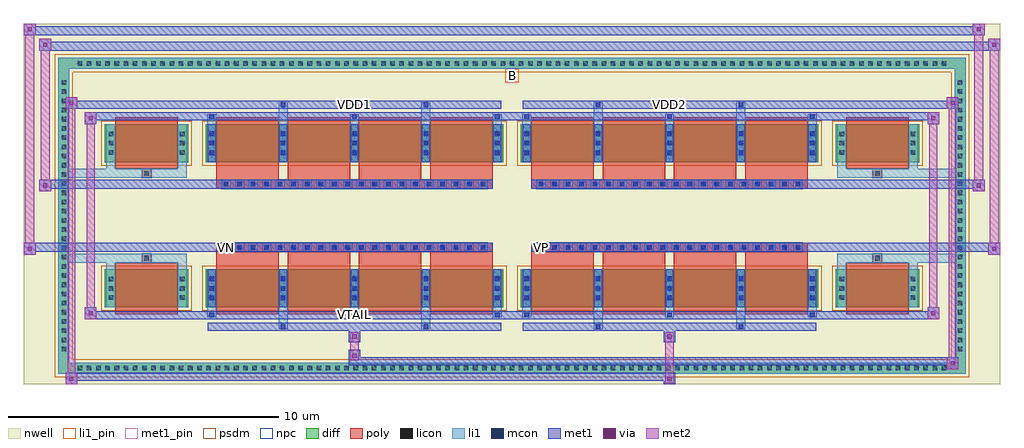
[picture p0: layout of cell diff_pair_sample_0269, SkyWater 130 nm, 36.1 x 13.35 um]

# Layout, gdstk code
import gdstk
lib = gdstk.Library(unit=1e-6, precision=5e-09)
def R(c, l, rs):  # rectangles x0, y0, x1, y1
    for r in rs: c.add(gdstk.rectangle(r[:2], r[2:], *l))
def A(c, l, x, y, w, h, nx, ny, dx, dy):  # array of equal rectangles
    R(c, l, [(x+i*dx, y+j*dy, x+i*dx+w, y+j*dy+h) for i in range(nx) for j in range(ny)])
def P(c, l, *ps):  # polygons
    for p in ps: c.add(gdstk.Polygon(p, *l))
nwell = (64, 20)
diff = (65, 20)
poly = (66, 20)
licon = (66, 44)
li1_pin = (67, 16)
li1 = (67, 20)
mcon = (67, 44)
met1_pin = (68, 16)
met1 = (68, 20)
via = (68, 44)
met2 = (69, 20)
psdm = (94, 20)
npc = (95, 20)

diff_pair_sample_0269 = lib.new_cell('diff_pair_sample_0269')
R(diff_pair_sample_0269, nwell, [(-18.05,-6.24,18.05,7.11), (-15.37,-4.43,-0.01,-0.805), (0.01,-4.43,15.37,-0.805), (-15.37,0.805,-0.01,4.43), (0.01,0.805,15.37,4.43)])
A(diff_pair_sample_0269, diff, -16.185, -5.84, 0.41, 0.41, 95, 2, 0.34, 11.27)
A(diff_pair_sample_0269, diff, -16.78, -5.135, 0.41, 0.41, 1, 30, 0, 0.34)
A(diff_pair_sample_0269, diff, 16.37, -5.135, 0.41, 0.41, 1, 30, 0, 0.34)
R(diff_pair_sample_0269, diff, [(-16.185,-5.84,16.185,-5.43), (-16.78,-5.135,-16.37,5.135), (16.37,-5.135,16.78,5.135), (-15.06,-3.385,-11.97,-1.985), (-11.33,-3.385,-0.32,-1.985), (0.32,-3.385,11.33,-1.985), (11.97,-3.385,15.06,-1.985), (-15.06,1.985,-11.97,3.385), (-11.33,1.985,-0.32,3.385), (0.32,1.985,11.33,3.385), (11.97,1.985,15.06,3.385), (-16.185,5.43,16.185,5.84)])
P(diff_pair_sample_0269, diff, [(16.78,5.84),(-16.78,5.84),(-16.78,-5.43),(-16.37,-5.43),(-16.37,5.43),(16.37,5.43),(16.37,-5.43),(-16.37,-5.43),(-16.78,-5.43),(-16.78,-5.84),(16.78,-5.84)])
A(diff_pair_sample_0269, poly, -10.94, -3.635, 2.31, 1.9, 4, 2, 2.64, 5.37)
A(diff_pair_sample_0269, poly, 0.71, -3.635, 2.31, 1.9, 4, 2, 2.64, 5.37)
A(diff_pair_sample_0269, poly, -10.94, -1.735, 2.31, 0.4, 4, 2, 2.64, 3.07)
A(diff_pair_sample_0269, poly, 0.71, -1.735, 2.31, 0.4, 4, 2, 2.64, 3.07)
A(diff_pair_sample_0269, poly, -10.74, -1.335, 0.33, 0.33, 20, 2, 0.5, 2.34)
A(diff_pair_sample_0269, poly, 0.91, -1.335, 0.33, 0.33, 20, 2, 0.5, 2.34)
R(diff_pair_sample_0269, poly, [(-14.67,-3.635,-12.36,-1.735), (12.36,-3.635,14.67,-1.735), (-13.68,-1.735,-13.35,-1.405), (-13.68,-1.735,-13.35,-1.405), (13.35,-1.735,13.68,-1.405), (13.35,-1.735,13.68,-1.405), (-10.94,-1.335,-0.71,-1.005), (0.71,-1.335,10.94,-1.005), (-10.94,1.005,-0.71,1.335), (0.71,1.005,10.94,1.335), (-13.68,1.405,-13.35,1.735), (-13.68,1.405,-13.35,1.735), (13.35,1.405,13.68,1.735), (13.35,1.405,13.68,1.735), (-14.67,1.735,-12.36,3.635), (12.36,1.735,14.67,3.635)])
A(diff_pair_sample_0269, licon, -16.065, -5.72, 0.17, 0.17, 95, 2, 0.34, 11.27)
A(diff_pair_sample_0269, licon, -16.66, -5.015, 0.17, 0.17, 1, 30, 0, 0.34)
A(diff_pair_sample_0269, licon, 16.49, -5.015, 0.17, 0.17, 1, 30, 0, 0.34)
A(diff_pair_sample_0269, licon, -14.92, -3.11, 0.17, 0.17, 1, 3, 0, 0.34)
A(diff_pair_sample_0269, licon, -12.28, -3.11, 0.17, 0.17, 1, 3, 0, 0.34)
A(diff_pair_sample_0269, licon, -11.19, -3.11, 0.17, 0.17, 5, 3, 2.64, 0.34)
A(diff_pair_sample_0269, licon, 0.46, -3.11, 0.17, 0.17, 5, 3, 2.64, 0.34)
A(diff_pair_sample_0269, licon, 12.11, -3.11, 0.17, 0.17, 1, 3, 0, 0.34)
A(diff_pair_sample_0269, licon, 14.75, -3.11, 0.17, 0.17, 1, 3, 0, 0.34)
A(diff_pair_sample_0269, licon, -10.66, -1.255, 0.17, 0.17, 20, 2, 0.5, 2.34)
A(diff_pair_sample_0269, licon, 0.99, -1.255, 0.17, 0.17, 20, 2, 0.5, 2.34)
A(diff_pair_sample_0269, licon, -14.92, 2.26, 0.17, 0.17, 1, 3, 0, 0.34)
A(diff_pair_sample_0269, licon, -12.28, 2.26, 0.17, 0.17, 1, 3, 0, 0.34)
A(diff_pair_sample_0269, licon, -11.19, 2.26, 0.17, 0.17, 5, 3, 2.64, 0.34)
A(diff_pair_sample_0269, licon, 0.46, 2.26, 0.17, 0.17, 5, 3, 2.64, 0.34)
A(diff_pair_sample_0269, licon, 12.11, 2.26, 0.17, 0.17, 1, 3, 0, 0.34)
A(diff_pair_sample_0269, licon, 14.75, 2.26, 0.17, 0.17, 1, 3, 0, 0.34)
R(diff_pair_sample_0269, licon, [(-13.6,-1.655,-13.43,-1.485), (13.43,-1.655,13.6,-1.485), (-13.6,1.485,-13.43,1.655), (13.43,1.485,13.6,1.655)])
R(diff_pair_sample_0269, li1_pin, [(-0.25,4.93,0.25,5.43)])
A(diff_pair_sample_0269, li1, -16.145, -5.8, 0.33, 0.33, 95, 2, 0.34, 11.27)
A(diff_pair_sample_0269, li1, -16.74, -5.095, 0.33, 0.33, 1, 30, 0, 0.34)
A(diff_pair_sample_0269, li1, 16.41, -5.095, 0.33, 0.33, 1, 30, 0, 0.34)
A(diff_pair_sample_0269, li1, -11.27, -3.76, 0.33, 0.375, 3, 2, 5.28, 7.145)
A(diff_pair_sample_0269, li1, -11.19, -3.76, 0.17, 0.17, 3, 2, 5.28, 7.35)
A(diff_pair_sample_0269, li1, 0.38, -3.76, 0.33, 0.375, 3, 2, 5.28, 7.145)
A(diff_pair_sample_0269, li1, 0.46, -3.76, 0.17, 0.17, 3, 2, 5.28, 7.35)
A(diff_pair_sample_0269, li1, -11.27, -3.385, 0.33, 1.4, 5, 2, 2.64, 5.37)
A(diff_pair_sample_0269, li1, 0.38, -3.385, 0.33, 1.4, 5, 2, 2.64, 5.37)
A(diff_pair_sample_0269, li1, -15, -3.19, 0.33, 0.33, 1, 3, 0, 0.34)
A(diff_pair_sample_0269, li1, -12.36, -3.19, 0.33, 0.33, 1, 3, 0, 0.34)
A(diff_pair_sample_0269, li1, -11.27, -3.19, 0.33, 0.33, 5, 3, 2.64, 0.34)
A(diff_pair_sample_0269, li1, 0.38, -3.19, 0.33, 0.33, 5, 3, 2.64, 0.34)
A(diff_pair_sample_0269, li1, 12.03, -3.19, 0.33, 0.33, 1, 3, 0, 0.34)
A(diff_pair_sample_0269, li1, 14.67, -3.19, 0.33, 0.33, 1, 3, 0, 0.34)
A(diff_pair_sample_0269, li1, -11.19, -3.13, 0.17, 0.17, 5, 3, 2.64, 0.36)
A(diff_pair_sample_0269, li1, -11.19, -3.13, 0.17, 0.89, 5, 2, 2.64, 5.37)
A(diff_pair_sample_0269, li1, 0.46, -3.13, 0.17, 0.17, 5, 3, 2.64, 0.36)
A(diff_pair_sample_0269, li1, 0.46, -3.13, 0.17, 0.89, 5, 2, 2.64, 5.37)
A(diff_pair_sample_0269, li1, -10.74, -1.335, 0.33, 0.33, 20, 2, 0.5, 2.34)
A(diff_pair_sample_0269, li1, 0.91, -1.335, 0.33, 0.33, 20, 2, 0.5, 2.34)
A(diff_pair_sample_0269, li1, -15, 2.18, 0.33, 0.33, 1, 3, 0, 0.34)
A(diff_pair_sample_0269, li1, -12.36, 2.18, 0.33, 0.33, 1, 3, 0, 0.34)
A(diff_pair_sample_0269, li1, -11.27, 2.18, 0.33, 0.33, 5, 3, 2.64, 0.34)
A(diff_pair_sample_0269, li1, 0.38, 2.18, 0.33, 0.33, 5, 3, 2.64, 0.34)
A(diff_pair_sample_0269, li1, 12.03, 2.18, 0.33, 0.33, 1, 3, 0, 0.34)
A(diff_pair_sample_0269, li1, 14.67, 2.18, 0.33, 0.33, 1, 3, 0, 0.34)
A(diff_pair_sample_0269, li1, -11.19, 2.24, 0.17, 0.17, 5, 3, 2.64, 0.36)
A(diff_pair_sample_0269, li1, 0.46, 2.24, 0.17, 0.17, 5, 3, 2.64, 0.36)
R(diff_pair_sample_0269, li1, [(-16.78,-5.84,-16.37,-5.43), (-16.78,-5.84,-16.37,-5.43), (-16.37,-5.84,16.37,-5.43), (16.37,-5.84,16.78,-5.43), (16.37,-5.84,16.78,-5.43), (-16.78,-5.43,-16.37,5.43), (16.37,-5.43,16.78,5.43), (-8.63,-4.19,-8.3,-3.385), (-8.55,-4.19,-8.38,-4.02), (-3.35,-4.19,-3.02,-3.385), (-3.27,-4.19,-3.1,-4.02), (3.02,-4.19,3.35,-3.385), (3.1,-4.19,3.27,-4.02), (8.3,-4.19,8.63,-3.385), (8.38,-4.19,8.55,-4.02), (-15,-3.385,-14.67,-1.985), (-12.36,-3.385,-12.03,-1.985), (12.03,-3.385,12.36,-1.985), (14.67,-3.385,15,-1.985), (-15,-1.985,-14.67,-1.405), (-12.36,-1.985,-12.03,-1.405), (12.03,-1.985,12.36,-1.405), (14.67,-1.985,15,-1.405), (-16.78,-1.735,-13.68,-1.405), (-15,-1.735,-13.68,-1.405), (-13.68,-1.735,-13.35,-1.405), (-13.35,-1.735,-12.03,-1.405), (12.03,-1.735,13.35,-1.405), (13.35,-1.735,13.68,-1.405), (13.35,-1.735,16.78,-1.405), (13.68,-1.735,15,-1.405), (-16.78,1.405,-13.68,1.735), (-15,1.405,-13.68,1.735), (-15,1.405,-14.67,1.985), (-13.68,1.405,-13.35,1.735), (-13.35,1.405,-12.03,1.735), (-12.36,1.405,-12.03,1.985), (12.03,1.405,13.35,1.735), (12.03,1.405,12.36,1.985), (13.35,1.405,13.68,1.735), (13.35,1.405,16.78,1.735), (13.68,1.405,15,1.735), (14.67,1.405,15,1.985), (-15,1.985,-14.67,3.385), (-12.36,1.985,-12.03,3.385), (12.03,1.985,12.36,3.385), (14.67,1.985,15,3.385), (-8.63,3.385,-8.3,4.19), (-3.35,3.385,-3.02,4.19), (3.02,3.385,3.35,4.19), (8.3,3.385,8.63,4.19), (-8.55,4.02,-8.38,4.19), (-3.27,4.02,-3.1,4.19), (3.1,4.02,3.27,4.19), (8.38,4.02,8.55,4.19), (-16.78,5.43,-16.37,5.84), (-16.78,5.43,-16.37,5.84), (-16.37,5.43,16.37,5.84), (16.37,5.43,16.78,5.84), (16.37,5.43,16.78,5.84)])
A(diff_pair_sample_0269, mcon, -11.19, -3.76, 0.17, 0.17, 3, 2, 5.28, 7.35)
A(diff_pair_sample_0269, mcon, 0.46, -3.76, 0.17, 0.17, 3, 2, 5.28, 7.35)
A(diff_pair_sample_0269, mcon, -11.19, -3.13, 0.17, 0.17, 5, 3, 2.64, 0.36)
A(diff_pair_sample_0269, mcon, 0.46, -3.13, 0.17, 0.17, 5, 3, 2.64, 0.36)
A(diff_pair_sample_0269, mcon, -10.66, -1.255, 0.17, 0.17, 20, 2, 0.5, 2.34)
A(diff_pair_sample_0269, mcon, 0.99, -1.255, 0.17, 0.17, 20, 2, 0.5, 2.34)
A(diff_pair_sample_0269, mcon, -11.19, 2.24, 0.17, 0.17, 5, 3, 2.64, 0.36)
A(diff_pair_sample_0269, mcon, 0.46, 2.24, 0.17, 0.17, 5, 3, 2.64, 0.36)
R(diff_pair_sample_0269, mcon, [(-8.55,-4.19,-8.38,-4.02), (-3.27,-4.19,-3.1,-4.02), (3.1,-4.19,3.27,-4.02), (8.38,-4.19,8.55,-4.02), (-8.55,4.02,-8.38,4.19), (-3.27,4.02,-3.1,4.19), (3.1,4.02,3.27,4.19), (8.38,4.02,8.55,4.19)])
R(diff_pair_sample_0269, met1_pin, [(-5.96,-3.8,-5.69,-3.53), (-10.71,-1.295,-10.44,-1.025), (0.94,-1.295,1.21,-1.025), (-5.96,3.98,-5.69,4.25), (5.69,3.98,5.96,4.25)])
A(diff_pair_sample_0269, met1, -11.25, -3.82, 0.29, 0.29, 3, 2, 5.28, 7.35)
A(diff_pair_sample_0269, met1, 0.4, -3.82, 0.29, 0.29, 3, 2, 5.28, 7.35)
A(diff_pair_sample_0269, met1, -11.25, -3.385, 0.29, 1.4, 5, 2, 2.64, 5.37)
A(diff_pair_sample_0269, met1, 0.4, -3.385, 0.29, 1.4, 5, 2, 2.64, 5.37)
A(diff_pair_sample_0269, met1, -11.25, -3.19, 0.29, 0.29, 5, 3, 2.64, 0.36)
A(diff_pair_sample_0269, met1, 0.4, -3.19, 0.29, 0.29, 5, 3, 2.64, 0.36)
A(diff_pair_sample_0269, met1, -10.72, -1.315, 0.29, 0.29, 20, 2, 0.5, 2.34)
A(diff_pair_sample_0269, met1, 0.93, -1.315, 0.29, 0.29, 20, 2, 0.5, 2.34)
A(diff_pair_sample_0269, met1, -11.25, 2.18, 0.29, 0.29, 5, 3, 2.64, 0.36)
A(diff_pair_sample_0269, met1, 0.4, 2.18, 0.29, 0.29, 5, 3, 2.64, 0.36)
R(diff_pair_sample_0269, met1, [(-16.51,-6.24,-16.08,-5.81), (5.61,-6.24,6.04,-5.81), (-16.51,-6.1,6.04,-5.81), (16.08,-5.67,16.51,-5.24), (-6.04,-5.53,16.51,-5.24), (-6.04,-5.39,-5.61,-4.96), (-6.04,-4.68,-5.61,-4.25), (5.61,-4.68,6.04,-4.25), (-11.25,-4.25,-0.4,-3.96), (-8.61,-4.25,-8.32,-3.96), (-3.33,-4.25,-3.04,-3.96), (0.4,-4.25,11.25,-3.96), (3.04,-4.25,3.33,-3.96), (8.32,-4.25,8.61,-3.96), (-15.8,-3.82,-15.37,-3.39), (-15.8,-3.82,-11.25,-3.53), (-11.25,-3.82,-0.4,-3.53), (-0.4,-3.82,0.4,-3.53), (0.4,-3.82,11.25,-3.53), (11.25,-3.82,15.8,-3.53), (15.37,-3.82,15.8,-3.39), (-18.05,-1.435,-17.62,-1.005), (17.62,-1.435,18.05,-1.005), (-18.05,-1.335,-0.71,-1.005), (-10.94,-1.335,-0.71,-1.005), (0.71,-1.335,10.94,-1.005), (0.71,-1.335,18.05,-1.005), (-17.48,0.905,-17.05,1.335), (17.05,0.905,17.48,1.335), (-17.48,1.005,-10.94,1.335), (-10.94,1.005,-0.71,1.335), (0.71,1.005,10.94,1.335), (10.94,1.005,17.48,1.335), (-15.8,3.39,-15.37,3.82), (15.37,3.39,15.8,3.82), (-15.8,3.53,-11.25,3.82), (-11.25,3.53,-0.4,3.82), (-0.4,3.53,0.4,3.82), (0.4,3.53,11.25,3.82), (11.25,3.53,15.8,3.82), (-16.51,3.96,-16.08,4.39), (-16.51,3.96,-11.25,4.25), (-11.25,3.96,-0.4,4.25), (-8.61,3.96,-8.32,4.25), (-3.33,3.96,-3.04,4.25), (0.4,3.96,11.25,4.25), (3.04,3.96,3.33,4.25), (8.32,3.96,8.61,4.25), (11.25,3.96,16.51,4.25), (16.08,3.96,16.51,4.39), (-17.48,6.11,-17.05,6.54), (-17.48,6.11,-15.37,6.44), (-15.37,6.11,15.37,6.44), (15.37,6.11,18.05,6.44), (17.62,6.11,18.05,6.54), (-18.05,6.68,-17.62,7.11), (-18.05,6.68,-15.37,7.01), (-15.37,6.68,15.37,7.01), (15.37,6.68,17.48,7.01), (17.05,6.68,17.48,7.11)])
R(diff_pair_sample_0269, via, [(-16.37,-6.1,-16.22,-5.95), (5.75,-6.1,5.9,-5.95), (16.22,-5.53,16.37,-5.38), (-5.9,-5.25,-5.75,-5.1), (-5.9,-4.54,-5.75,-4.39), (5.75,-4.54,5.9,-4.39), (-15.66,-3.68,-15.51,-3.53), (15.51,-3.68,15.66,-3.53), (-17.91,-1.295,-17.76,-1.145), (17.76,-1.295,17.91,-1.145), (-17.34,1.045,-17.19,1.195), (17.19,1.045,17.34,1.195), (-15.66,3.53,-15.51,3.68), (15.51,3.53,15.66,3.68), (-16.37,4.1,-16.22,4.25), (16.22,4.1,16.37,4.25), (-17.34,6.25,-17.19,6.4), (17.76,6.25,17.91,6.4), (-17.91,6.82,-17.76,6.97), (17.19,6.82,17.34,6.97)])
R(diff_pair_sample_0269, met2, [(-16.51,-6.24,-16.08,-5.81), (-16.44,-6.24,-16.15,4.39), (-16.15,-6.24,-16.08,-5.81), (-16.46,-6.19,-16.13,-5.86), (5.66,-6.19,5.99,-5.86), (5.66,-5.86,5.99,-4.63), (16.08,-5.67,16.51,-5.24), (16.15,-5.67,16.44,4.39), (16.44,-5.67,16.51,-5.24), (16.13,-5.62,16.46,-5.29), (-5.99,-5.34,-5.66,-5.01), (-5.99,-5.01,-5.66,-4.63), (-5.99,-4.63,-5.66,-4.3), (5.66,-4.63,5.99,-4.3), (-15.8,-3.82,-15.37,-3.39), (-15.73,-3.82,-15.44,3.82), (-15.44,-3.82,-15.37,-3.39), (15.37,-3.82,15.8,-3.39), (15.44,-3.82,15.73,3.82), (15.73,-3.82,15.8,-3.39), (-15.75,-3.77,-15.42,-3.44), (15.42,-3.77,15.75,-3.44), (-18.05,-1.435,-17.62,-1.005), (-18,-1.435,-17.67,7.11), (-17.67,-1.435,-17.62,-1.005), (17.62,-1.435,18.05,-1.005), (17.67,-1.435,18,6.54), (18,-1.435,18.05,-1.005), (-18,-1.385,-17.67,-1.055), (17.67,-1.385,18,-1.055), (-17.48,0.905,-17.05,1.335), (-17.43,0.905,-17.1,6.54), (-17.1,0.905,-17.05,1.335), (17.05,0.905,17.48,1.335), (17.1,0.905,17.43,7.11), (17.43,0.905,17.48,1.335), (-17.43,0.955,-17.1,1.285), (17.1,0.955,17.43,1.285), (-15.8,3.39,-15.37,3.82), (-15.44,3.39,-15.37,3.82), (15.37,3.39,15.8,3.82), (15.73,3.39,15.8,3.82), (-15.75,3.44,-15.42,3.77), (15.42,3.44,15.75,3.77), (-16.51,3.96,-16.08,4.39), (-16.15,3.96,-16.08,4.39), (16.08,3.96,16.51,4.39), (16.44,3.96,16.51,4.39), (-16.46,4.01,-16.13,4.34), (16.13,4.01,16.46,4.34), (-17.48,6.11,-17.05,6.54), (-17.1,6.11,-17.05,6.54), (17.62,6.11,18.05,6.54), (18,6.11,18.05,6.54), (-17.43,6.16,-17.1,6.49), (17.67,6.16,18,6.49), (-18.05,6.68,-17.62,7.11), (-17.67,6.68,-17.62,7.11), (17.05,6.68,17.48,7.11), (17.43,6.68,17.48,7.11), (-18,6.73,-17.67,7.06), (17.1,6.73,17.43,7.06)])
R(diff_pair_sample_0269, psdm, [(-15.19,-3.515,-11.84,-1.855), (-11.46,-3.515,-0.19,-1.855), (0.19,-3.515,11.46,-1.855), (11.84,-3.515,15.19,-1.855), (-15.19,1.855,-11.84,3.515), (-11.46,1.855,-0.19,3.515), (0.19,1.855,11.46,3.515), (11.84,1.855,15.19,3.515)])
P(diff_pair_sample_0269, psdm, [(16.91,5.97),(-16.91,5.97),(-16.91,-5.3),(-16.24,-5.3),(-16.24,5.3),(16.24,5.3),(16.24,-5.3),(-16.24,-5.3),(-16.91,-5.3),(-16.91,-5.97),(16.91,-5.97)])
A(diff_pair_sample_0269, npc, -10.76, -1.355, 0.37, 0.37, 20, 2, 0.5, 2.34)
A(diff_pair_sample_0269, npc, 0.89, -1.355, 0.37, 0.37, 20, 2, 0.5, 2.34)
R(diff_pair_sample_0269, npc, [(-13.7,-1.755,-13.33,-1.385), (13.33,-1.755,13.7,-1.385), (-10.76,-1.355,-9.89,-0.985), (-10.76,-1.355,-9.89,-0.985), (-10.26,-1.355,-9.39,-0.985), (-10.26,-1.355,-9.39,-0.985), (-9.76,-1.355,-8.89,-0.985), (-9.76,-1.355,-8.89,-0.985), (-9.26,-1.355,-8.39,-0.985), (-9.26,-1.355,-8.39,-0.985), (-8.76,-1.355,-7.89,-0.985), (-8.76,-1.355,-7.89,-0.985), (-8.26,-1.355,-7.39,-0.985), (-8.26,-1.355,-7.39,-0.985), (-7.76,-1.355,-6.89,-0.985), (-7.76,-1.355,-6.89,-0.985), (-7.26,-1.355,-6.39,-0.985), (-7.26,-1.355,-6.39,-0.985), (-6.76,-1.355,-5.89,-0.985), (-6.76,-1.355,-5.89,-0.985), (-6.26,-1.355,-5.39,-0.985), (-6.26,-1.355,-5.39,-0.985), (-5.76,-1.355,-4.89,-0.985), (-5.76,-1.355,-4.89,-0.985), (-5.26,-1.355,-4.39,-0.985), (-5.26,-1.355,-4.39,-0.985), (-4.76,-1.355,-3.89,-0.985), (-4.76,-1.355,-3.89,-0.985), (-4.26,-1.355,-3.39,-0.985), (-4.26,-1.355,-3.39,-0.985), (-3.76,-1.355,-2.89,-0.985), (-3.76,-1.355,-2.89,-0.985), (-3.26,-1.355,-2.39,-0.985), (-3.26,-1.355,-2.39,-0.985), (-2.76,-1.355,-1.89,-0.985), (-2.76,-1.355,-1.89,-0.985), (-2.26,-1.355,-1.39,-0.985), (-2.26,-1.355,-1.39,-0.985), (-1.76,-1.355,-0.89,-0.985), (-1.76,-1.355,-0.89,-0.985), (0.89,-1.355,1.76,-0.985), (0.89,-1.355,1.76,-0.985), (1.39,-1.355,2.26,-0.985), (1.39,-1.355,2.26,-0.985), (1.89,-1.355,2.76,-0.985), (1.89,-1.355,2.76,-0.985), (2.39,-1.355,3.26,-0.985), (2.39,-1.355,3.26,-0.985), (2.89,-1.355,3.76,-0.985), (2.89,-1.355,3.76,-0.985), (3.39,-1.355,4.26,-0.985), (3.39,-1.355,4.26,-0.985), (3.89,-1.355,4.76,-0.985), (3.89,-1.355,4.76,-0.985), (4.39,-1.355,5.26,-0.985), (4.39,-1.355,5.26,-0.985), (4.89,-1.355,5.76,-0.985), (4.89,-1.355,5.76,-0.985), (5.39,-1.355,6.26,-0.985), (5.39,-1.355,6.26,-0.985), (5.89,-1.355,6.76,-0.985), (5.89,-1.355,6.76,-0.985), (6.39,-1.355,7.26,-0.985), (6.39,-1.355,7.26,-0.985), (6.89,-1.355,7.76,-0.985), (6.89,-1.355,7.76,-0.985), (7.39,-1.355,8.26,-0.985), (7.39,-1.355,8.26,-0.985), (7.89,-1.355,8.76,-0.985), (7.89,-1.355,8.76,-0.985), (8.39,-1.355,9.26,-0.985), (8.39,-1.355,9.26,-0.985), (8.89,-1.355,9.76,-0.985), (8.89,-1.355,9.76,-0.985), (9.39,-1.355,10.26,-0.985), (9.39,-1.355,10.26,-0.985), (9.89,-1.355,10.76,-0.985), (9.89,-1.355,10.76,-0.985), (-10.76,0.985,-9.89,1.355), (-10.76,0.985,-9.89,1.355), (-10.26,0.985,-9.39,1.355), (-10.26,0.985,-9.39,1.355), (-9.76,0.985,-8.89,1.355), (-9.76,0.985,-8.89,1.355), (-9.26,0.985,-8.39,1.355), (-9.26,0.985,-8.39,1.355), (-8.76,0.985,-7.89,1.355), (-8.76,0.985,-7.89,1.355), (-8.26,0.985,-7.39,1.355), (-8.26,0.985,-7.39,1.355), (-7.76,0.985,-6.89,1.355), (-7.76,0.985,-6.89,1.355), (-7.26,0.985,-6.39,1.355), (-7.26,0.985,-6.39,1.355), (-6.76,0.985,-5.89,1.355), (-6.76,0.985,-5.89,1.355), (-6.26,0.985,-5.39,1.355), (-6.26,0.985,-5.39,1.355), (-5.76,0.985,-4.89,1.355), (-5.76,0.985,-4.89,1.355), (-5.26,0.985,-4.39,1.355), (-5.26,0.985,-4.39,1.355), (-4.76,0.985,-3.89,1.355), (-4.76,0.985,-3.89,1.355), (-4.26,0.985,-3.39,1.355), (-4.26,0.985,-3.39,1.355), (-3.76,0.985,-2.89,1.355), (-3.76,0.985,-2.89,1.355), (-3.26,0.985,-2.39,1.355), (-3.26,0.985,-2.39,1.355), (-2.76,0.985,-1.89,1.355), (-2.76,0.985,-1.89,1.355), (-2.26,0.985,-1.39,1.355), (-2.26,0.985,-1.39,1.355), (-1.76,0.985,-0.89,1.355), (-1.76,0.985,-0.89,1.355), (0.89,0.985,1.76,1.355), (0.89,0.985,1.76,1.355), (1.39,0.985,2.26,1.355), (1.39,0.985,2.26,1.355), (1.89,0.985,2.76,1.355), (1.89,0.985,2.76,1.355), (2.39,0.985,3.26,1.355), (2.39,0.985,3.26,1.355), (2.89,0.985,3.76,1.355), (2.89,0.985,3.76,1.355), (3.39,0.985,4.26,1.355), (3.39,0.985,4.26,1.355), (3.89,0.985,4.76,1.355), (3.89,0.985,4.76,1.355), (4.39,0.985,5.26,1.355), (4.39,0.985,5.26,1.355), (4.89,0.985,5.76,1.355), (4.89,0.985,5.76,1.355), (5.39,0.985,6.26,1.355), (5.39,0.985,6.26,1.355), (5.89,0.985,6.76,1.355), (5.89,0.985,6.76,1.355), (6.39,0.985,7.26,1.355), (6.39,0.985,7.26,1.355), (6.89,0.985,7.76,1.355), (6.89,0.985,7.76,1.355), (7.39,0.985,8.26,1.355), (7.39,0.985,8.26,1.355), (7.89,0.985,8.76,1.355), (7.89,0.985,8.76,1.355), (8.39,0.985,9.26,1.355), (8.39,0.985,9.26,1.355), (8.89,0.985,9.76,1.355), (8.89,0.985,9.76,1.355), (9.39,0.985,10.26,1.355), (9.39,0.985,10.26,1.355), (9.89,0.985,10.76,1.355), (9.89,0.985,10.76,1.355), (-13.7,1.385,-13.33,1.755), (13.33,1.385,13.7,1.755)])
diff_pair_sample_0269.add(gdstk.Label('VTAIL', (-5.825,-3.665), layer=68, texttype=5))
diff_pair_sample_0269.add(gdstk.Label('VN', (-10.575,-1.16), layer=68, texttype=5))
diff_pair_sample_0269.add(gdstk.Label('VP', (1.075,-1.16), layer=68, texttype=5))
diff_pair_sample_0269.add(gdstk.Label('B', (0,5.18), layer=67, texttype=5))
diff_pair_sample_0269.add(gdstk.Label('VDD2', (5.825,4.115), layer=68, texttype=5))
diff_pair_sample_0269.add(gdstk.Label('VDD1', (-5.825,4.115), layer=68, texttype=5))

lib.write_gds('diff_pair_sample_0269.gds')
